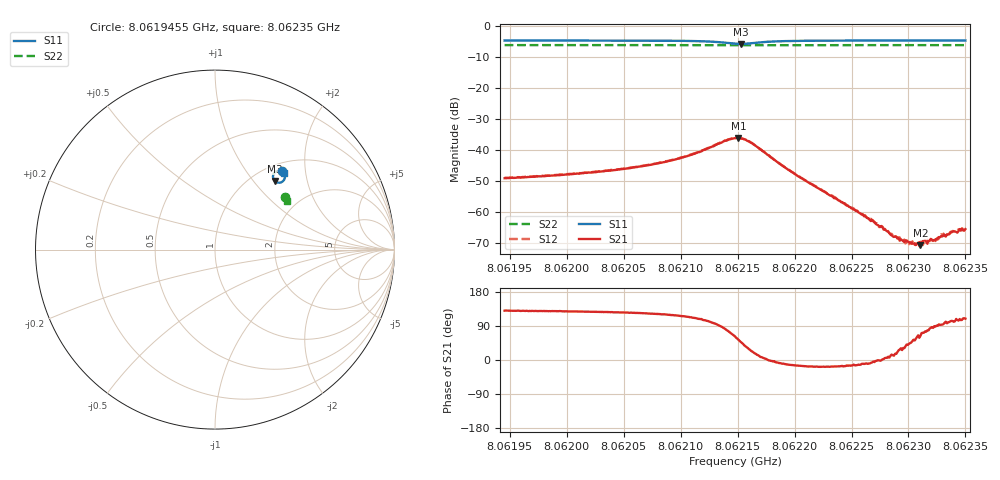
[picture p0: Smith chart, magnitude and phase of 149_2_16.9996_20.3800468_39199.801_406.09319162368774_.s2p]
#  HZ  S  RI  R  50.00
! Rohde & Schwarz Vector Network Analyzer
! Rohde-Schwarz,ZNB20-2Port,1311601062101988,3.16
! Created: UTC 3/20/2024, 10:58:46 PM
! freq[Hz]  re:S11  im:S11  re:S21  im:S21  re:S12  im:S12  re:S22  im:S22
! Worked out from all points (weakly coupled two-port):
!   401 points, 8.0619455 GHz to 8.06235 GHz, reference 50 ohm
!   highest |S21| = -36.14 dB at 8.0621508 GHz (marker M1); lowest = -70.6 dB at 8.0623105 GHz (marker M2)
!   lowest |S11| = -5.9 dB at 8.0621528 GHz (marker M3), VSWR 3.06, Z = 63 + j64.7 ohm
!   |S11| at or under -10 dB: nowhere
!   |S22| runs from -6.3 to -6.3 dB; largest |S21 - S12| = 0.0012
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8.06194553e9  0.3728 0.4385  -0.00227 0.00269  -0.00215 0.00287  0.3874 0.2918
8.06201328e9  0.3787 0.4327  -0.00261 0.00334  -0.00241 0.00353  0.3898 0.2882
8.06205372e9  0.383 0.4275  -0.00292 0.00415  -0.00269 0.00435  0.3912 0.2862
8.06208102e9  0.3864 0.4215  -0.00317 0.00525  -0.00289 0.00551  0.3922 0.2845
8.06211034e9  0.3898 0.4082  -0.00315 0.00787  -0.00275 0.00815  0.393 0.2827
8.06214775e9  0.3482 0.3738  0.00721 0.0137  0.00826 0.0132  0.3918 0.2802
8.06215078e9  0.3388 0.3776  0.00931 0.0125  0.0102 0.0119  0.3917 0.2802
8.0621528e9  0.3334 0.3817  0.0103 0.0112  0.0111 0.0109  0.3915 0.2803
8.06216393e9  0.3235 0.4128  0.0116 0.00423  0.0119 0.00351  0.3919 0.2814
8.06219021e9  0.3497 0.439  0.00539 -0.000898  0.00535 -0.0013  0.3943 0.2808
8.06221549e9  0.3635 0.4392  0.00266 -0.000809  0.00263 -0.000958  0.3957 0.2795
8.06224987e9  0.3725 0.436  0.00112 -0.00029  0.00114 -0.000358  0.397 0.2777
8.06228323e9  0.3776 0.4332  0.000457 5.09e-05  0.000463 5.41e-05  0.3982 0.2758
8.06229536e9  0.3792 0.4323  0.000291 0.000181  0.000294 0.000173  0.3987 0.2752
8.06230548e9  0.3802 0.4316  0.000198 0.000249  0.000198 0.000223  0.399 0.2748
8.06231053e9  0.3808 0.4312  0.000128 0.000265  0.000161 0.000293  0.3992 0.2745
8.06231559e9  0.3811 0.4308  8.77e-05 0.000323  0.000105 0.00033  0.3993 0.2743
8.0623257e9  0.3823 0.4301  -2.39e-06 0.000384  -7.63e-06 0.000364  0.3997 0.2737
8.06232873e9  0.3826 0.43  -2.22e-05 0.000412  -3.64e-05 0.00044  0.3998 0.2735
8.06233379e9  0.3831 0.4297  -5.34e-05 0.000439  -6.54e-05 0.000434  0.4 0.2733
8.06234086e9  0.3836 0.4292  -0.000106 0.00048  -8.92e-05 0.000487  0.4003 0.2729
8.06234996e9  0.3845 0.4287  -0.000176 0.000506  -0.000139 0.000513  0.4005 0.2724
